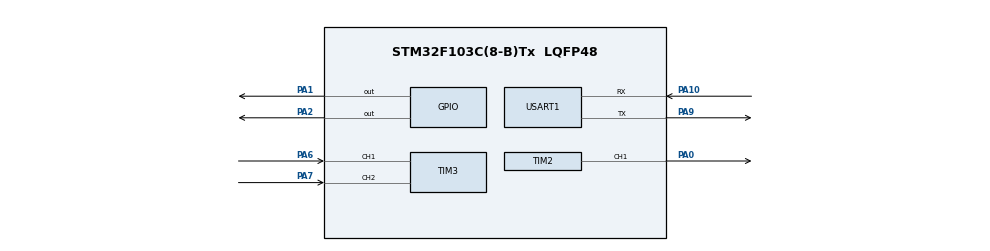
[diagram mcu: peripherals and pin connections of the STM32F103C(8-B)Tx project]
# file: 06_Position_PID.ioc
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Mcu.Family=STM32F1
Mcu.Name=STM32F103C(8-B)Tx
Mcu.Package=LQFP48
NVIC.PriorityGroup=NVIC_PRIORITYGROUP_4
PA0-WKUP.Signal=S_TIM2_CH1_ETR
PA1.Signal=GPIO_Output
PA10.Mode=Asynchronous
PA10.Signal=USART1_RX
PA13.Mode=Serial_Wire
PA13.Signal=SYS_JTMS-SWDIO
PA14.Mode=Serial_Wire
PA14.Signal=SYS_JTCK-SWCLK
PA2.Signal=GPIO_Output
PA6.Signal=S_TIM3_CH1
PA7.Signal=S_TIM3_CH2
PA9.Mode=Asynchronous
PA9.Signal=USART1_TX
ProjectManager.HeapSize=0x200
ProjectManager.StackSize=0x400
ProjectManager.TargetToolchain=STM32CubeIDE
RCC.APB1Freq_Value=8000000
RCC.APB2Freq_Value=8000000
SH.S_TIM2_CH1_ETR.0=TIM2_CH1,PWM Generation1 CH1
SH.S_TIM3_CH1.0=TIM3_CH1,Encoder_Interface
SH.S_TIM3_CH2.0=TIM3_CH2,Encoder_Interface
TIM2.Channel-PWM\ Generation1\ CH1=TIM_CHANNEL_1
TIM2.Period=999
TIM2.Prescaler=71
USART1.VirtualMode=VM_ASYNC
board=custom

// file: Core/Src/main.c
/* USER CODE BEGIN Header */
/**
  ******************************************************************************
  * @file           : main.c
  * @brief          : Main program body
  ******************************************************************************
  * @attention
  *
  * Copyright (c) 2026 STMicroelectronics.
  * All rights reserved.
  *
  * This software is licensed under terms that can be found in the LICENSE file
  * in the root directory of this software component.
  * If no LICENSE file comes with this software, it is provided AS-IS.
  *
  ******************************************************************************
  */
/* USER CODE END Header */
#include "main.h"

/* USER CODE BEGIN Includes */
#include <stdio.h>
#include <string.h>
/* USER CODE END Includes */

TIM_HandleTypeDef htim2;
TIM_HandleTypeDef htim3;

UART_HandleTypeDef huart1;

void SystemClock_Config(void);
static void MX_GPIO_Init(void);
static void MX_TIM2_Init(void);
static void MX_TIM3_Init(void);
static void MX_USART1_UART_Init(void);

int main(void)
{

  /* MCU Configuration--------------------------------------------------------*/

  /* Reset of all peripherals, Initializes the Flash interface and the Systick. */
  HAL_Init();

  /* Configure the system clock */
  SystemClock_Config();

  /* Initialize all configured peripherals */
  MX_GPIO_Init();
  MX_TIM2_Init();
  MX_TIM3_Init();
  MX_USART1_UART_Init();
  /* USER CODE BEGIN 2 */
  HAL_TIM_Encoder_Start(&htim3, TIM_CHANNEL_ALL);
  HAL_TIM_PWM_Start(&htim2, TIM_CHANNEL_1);

  HAL_GPIO_WritePin(GPIOA, GPIO_PIN_1, GPIO_PIN_SET);
  HAL_GPIO_WritePin(GPIOA, GPIO_PIN_2, GPIO_PIN_RESET);
  __HAL_TIM_SET_COMPARE(&htim2, TIM_CHANNEL_1, 200);

  char *msg = "Position PID Ready\r\n";
  HAL_UART_Transmit(&huart1, (uint8_t*)msg, strlen(msg), HAL_MAX_DELAY);
  /* USER CODE END 2 */

  /* Infinite loop */
  while (1)
  {

    /* USER CODE BEGIN 3 */
	  HAL_Delay(10);

	  // ---- 编码器读取 ----
	  static int32_t last_count = 0;
	  int32_t now_count = __HAL_TIM_GET_COUNTER(&htim3);
	  int32_t delta = now_count - last_count;
	  last_count = now_count;

	  float current_rpm = (float)delta * 6000.0f / 836.0f;

	  static float current_position = 0.0f;
	  current_position += delta;

	  // ---- 位置环参数 ----
	  float pos_Kp = 0.8f;
	  float pos_Ki = 0.005f;
	  float target_position = 500.0f;
	  static float pos_integral = 0.0f;

	  float pos_error = target_position - current_position;

	  // 死区控制：误差绝对值小于8时停止
	  float abs_error = (pos_error > 0) ? pos_error : -pos_error;
	  if (abs_error < 8.0f) {
	      pos_integral = 0.0f;
	      __HAL_TIM_SET_COMPARE(&htim2, TIM_CHANNEL_1, 0);
	      goto print_data;
	  }

	  pos_integral += pos_error;
	  if (pos_integral > 3000.0f) pos_integral = 3000.0f;
	  if (pos_integral < -3000.0f) pos_integral = -3000.0f;

	  float target_rpm = pos_Kp * pos_error + pos_Ki * pos_integral;
	  if (target_rpm > 300.0f) target_rpm = 300.0f;
	  if (target_rpm < -300.0f) target_rpm = -300.0f;

	  // ---- 方向控制 ----
	  if (target_rpm > 0.5f) {
	      HAL_GPIO_WritePin(GPIOA, GPIO_PIN_1, GPIO_PIN_SET);
	      HAL_GPIO_WritePin(GPIOA, GPIO_PIN_2, GPIO_PIN_RESET);
	  } else if (target_rpm < -0.5f) {
	      HAL_GPIO_WritePin(GPIOA, GPIO_PIN_1, GPIO_PIN_RESET);
	      HAL_GPIO_WritePin(GPIOA, GPIO_PIN_2, GPIO_PIN_SET);
	  } else {
	      __HAL_TIM_SET_COMPARE(&htim2, TIM_CHANNEL_1, 0);
	      goto print_data;
	  }

	  // ---- 速度环 ----
	  float Kp = 4.5f, Ki = 0.45f, Kd = 0.15f;
	  static float integral = 0.0f, last_error = 0.0f, prev_error = 0.0f;

	  float abs_target = (target_rpm > 0) ? target_rpm : -target_rpm;
	  float abs_current = (current_rpm > 0) ? current_rpm : -current_rpm;
	  float error = abs_target - abs_current;

	  integral += error;
	  if (integral > 500.0f) integral = 500.0f;
	  if (integral < -100.0f) integral = -100.0f;

	  float output = 650.0f + Kp * error + Ki * integral + Kd * (error - 2.0f * last_error + prev_error);
	  if (output > 900.0f) output = 900.0f;
	  if (output < 50.0f)  output = 50.0f;

	  __HAL_TIM_SET_COMPARE(&htim2, TIM_CHANNEL_1, (uint16_t)output);
	  prev_error = last_error;
	  last_error = error;

	  // ---- 每200ms打印 ----
	  print_data:
	  static uint32_t last_print = 0;
	  uint32_t now = HAL_GetTick();
	  if (now - last_print >= 200) {
	      last_print = now;
	      int32_t tp = (int32_t)target_position;
	      int32_t cp = (int32_t)current_position;
	      int32_t tr = (int32_t)(target_rpm * 10);
	      int32_t cr = (int32_t)(current_rpm * 10);
	      char buf[80];
	      int len = sprintf(buf, "PosT:%ld, PosA:%ld, SpdT:%ld.%ld, SpdA:%ld.%ld\r\n",
	                        tp, cp, tr/10, (tr<0 ? -tr : tr)%10, cr/10, (cr<0 ? -cr : cr)%10);
	      HAL_UART_Transmit(&huart1, (uint8_t*)buf, len, HAL_MAX_DELAY);
	  }
  }
  /* USER CODE END 3 */
}

void SystemClock_Config(void)
{
  RCC_OscInitTypeDef RCC_OscInitStruct = {0};
  RCC_ClkInitTypeDef RCC_ClkInitStruct = {0};

  /** Initializes the RCC Oscillators according to the specified parameters
  * in the RCC_OscInitTypeDef structure.
  */
  RCC_OscInitStruct.OscillatorType = RCC_OSCILLATORTYPE_HSI;
  RCC_OscInitStruct.HSIState = RCC_HSI_ON;
  RCC_OscInitStruct.HSICalibrationValue = RCC_HSICALIBRATION_DEFAULT;
  RCC_OscInitStruct.PLL.PLLState = RCC_PLL_NONE;
  if (HAL_RCC_OscConfig(&RCC_OscInitStruct) != HAL_OK)
  {
    Error_Handler();
  }

  /** Initializes the CPU, AHB and APB buses clocks
  */
  RCC_ClkInitStruct.ClockType = RCC_CLOCKTYPE_HCLK|RCC_CLOCKTYPE_SYSCLK
                              |RCC_CLOCKTYPE_PCLK1|RCC_CLOCKTYPE_PCLK2;
  RCC_ClkInitStruct.SYSCLKSource = RCC_SYSCLKSOURCE_HSI;
  RCC_ClkInitStruct.AHBCLKDivider = RCC_SYSCLK_DIV1;
  RCC_ClkInitStruct.APB1CLKDivider = RCC_HCLK_DIV1;
  RCC_ClkInitStruct.APB2CLKDivider = RCC_HCLK_DIV1;

  if (HAL_RCC_ClockConfig(&RCC_ClkInitStruct, FLASH_LATENCY_0) != HAL_OK)
  {
    Error_Handler();
  }
}

static void MX_TIM2_Init(void)
{

  TIM_MasterConfigTypeDef sMasterConfig = {0};
  TIM_OC_InitTypeDef sConfigOC = {0};

  htim2.Instance = TIM2;
  htim2.Init.Prescaler = 71;
  htim2.Init.CounterMode = TIM_COUNTERMODE_UP;
  htim2.Init.Period = 999;
  htim2.Init.ClockDivision = TIM_CLOCKDIVISION_DIV1;
  htim2.Init.AutoReloadPreload = TIM_AUTORELOAD_PRELOAD_DISABLE;
  if (HAL_TIM_PWM_Init(&htim2) != HAL_OK)
  {
    Error_Handler();
  }
  sMasterConfig.MasterOutputTrigger = TIM_TRGO_RESET;
  sMasterConfig.MasterSlaveMode = TIM_MASTERSLAVEMODE_DISABLE;
  if (HAL_TIMEx_MasterConfigSynchronization(&htim2, &sMasterConfig) != HAL_OK)
  {
    Error_Handler();
  }
  sConfigOC.OCMode = TIM_OCMODE_PWM1;
  sConfigOC.Pulse = 0;
  sConfigOC.OCPolarity = TIM_OCPOLARITY_HIGH;
  sConfigOC.OCFastMode = TIM_OCFAST_DISABLE;
  if (HAL_TIM_PWM_ConfigChannel(&htim2, &sConfigOC, TIM_CHANNEL_1) != HAL_OK)
  {
    Error_Handler();
  }
  HAL_TIM_MspPostInit(&htim2);

}

static void MX_TIM3_Init(void)
{

  TIM_Encoder_InitTypeDef sConfig = {0};
  TIM_MasterConfigTypeDef sMasterConfig = {0};

  htim3.Instance = TIM3;
  htim3.Init.Prescaler = 0;
  htim3.Init.CounterMode = TIM_COUNTERMODE_UP;
  htim3.Init.Period = 65535;
  htim3.Init.ClockDivision = TIM_CLOCKDIVISION_DIV1;
  htim3.Init.AutoReloadPreload = TIM_AUTORELOAD_PRELOAD_DISABLE;
  sConfig.EncoderMode = TIM_ENCODERMODE_TI1;
  sConfig.IC1Polarity = TIM_ICPOLARITY_RISING;
  sConfig.IC1Selection = TIM_ICSELECTION_DIRECTTI;
  sConfig.IC1Prescaler = TIM_ICPSC_DIV1;
  sConfig.IC1Filter = 0;
  sConfig.IC2Polarity = TIM_ICPOLARITY_RISING;
  sConfig.IC2Selection = TIM_ICSELECTION_DIRECTTI;
  sConfig.IC2Prescaler = TIM_ICPSC_DIV1;
  sConfig.IC2Filter = 0;
  if (HAL_TIM_Encoder_Init(&htim3, &sConfig) != HAL_OK)
  {
    Error_Handler();
  }
  sMasterConfig.MasterOutputTrigger = TIM_TRGO_RESET;
  sMasterConfig.MasterSlaveMode = TIM_MASTERSLAVEMODE_DISABLE;
  if (HAL_TIMEx_MasterConfigSynchronization(&htim3, &sMasterConfig) != HAL_OK)
  {
    Error_Handler();
  }

}

static void MX_USART1_UART_Init(void)
{

  huart1.Instance = USART1;
  huart1.Init.BaudRate = 115200;
  huart1.Init.WordLength = UART_WORDLENGTH_8B;
  huart1.Init.StopBits = UART_STOPBITS_1;
  huart1.Init.Parity = UART_PARITY_NONE;
  huart1.Init.Mode = UART_MODE_TX_RX;
  huart1.Init.HwFlowCtl = UART_HWCONTROL_NONE;
  huart1.Init.OverSampling = UART_OVERSAMPLING_16;
  if (HAL_UART_Init(&huart1) != HAL_OK)
  {
    Error_Handler();
  }

}

static void MX_GPIO_Init(void)
{
  GPIO_InitTypeDef GPIO_InitStruct = {0};

  /* GPIO Ports Clock Enable */
  __HAL_RCC_GPIOA_CLK_ENABLE();

  /*Configure GPIO pin Output Level */
  HAL_GPIO_WritePin(GPIOA, GPIO_PIN_1|GPIO_PIN_2, GPIO_PIN_RESET);

  /*Configure GPIO pins : PA1 PA2 */
  GPIO_InitStruct.Pin = GPIO_PIN_1|GPIO_PIN_2;
  GPIO_InitStruct.Mode = GPIO_MODE_OUTPUT_PP;
  GPIO_InitStruct.Pull = GPIO_NOPULL;
  GPIO_InitStruct.Speed = GPIO_SPEED_FREQ_LOW;
  HAL_GPIO_Init(GPIOA, &GPIO_InitStruct);

}

void Error_Handler(void)
{
  __disable_irq();
  while (1)
  {
  }
}
